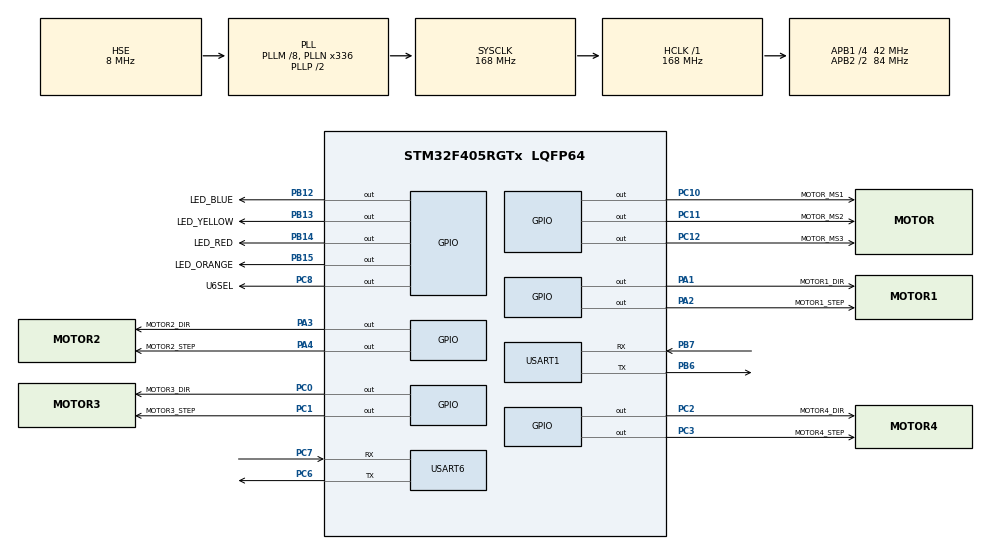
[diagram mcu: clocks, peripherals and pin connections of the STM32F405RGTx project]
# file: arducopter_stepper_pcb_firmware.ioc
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FREERTOS.Tasks01=defaultTask,0,128,StartDefaultTask,Default,NULL
FREERTOS.configTOTAL_HEAP_SIZE=40906
Mcu.Family=STM32F4
Mcu.Name=STM32F405RGTx
Mcu.Package=LQFP64
NVIC.PriorityGroup=NVIC_PRIORITYGROUP_4
NVIC.TIM1_BRK_TIM9_IRQn=true\:0\:0\:false\:false\:true\:false\:false
NVIC.TIM8_CC_IRQn=true\:5\:0\:false\:false\:true\:true\:true
NVIC.TimeBase=TIM1_BRK_TIM9_IRQn
NVIC.TimeBaseIP=TIM9
NVIC.USART1_IRQn=true\:5\:0\:false\:false\:true\:true\:true
PA1.GPIO_Label=MOTOR1_DIR
PA1.GPIO_Speed=GPIO_SPEED_FREQ_VERY_HIGH
PA1.Signal=GPIO_Output
PA13.Mode=Trace_Asynchronous_SW
PA13.Signal=SYS_JTMS-SWDIO
PA14.Mode=Trace_Asynchronous_SW
PA14.Signal=SYS_JTCK-SWCLK
PA2.GPIO_Label=MOTOR1_STEP
PA2.GPIO_Speed=GPIO_SPEED_FREQ_VERY_HIGH
PA2.Signal=GPIO_Output
PA3.GPIO_Label=MOTOR2_DIR
PA3.GPIO_Speed=GPIO_SPEED_FREQ_VERY_HIGH
PA3.Signal=GPIO_Output
PA4.GPIO_Label=MOTOR2_STEP
PA4.GPIO_Speed=GPIO_SPEED_FREQ_VERY_HIGH
PA4.Signal=GPIO_Output
PB12.GPIO_Label=LED_BLUE
PB12.GPIO_Speed=GPIO_SPEED_FREQ_HIGH
PB12.Signal=GPIO_Output
PB13.GPIO_Label=LED_YELLOW
PB13.GPIO_Speed=GPIO_SPEED_FREQ_HIGH
PB13.Signal=GPIO_Output
PB14.GPIO_Label=LED_RED
PB14.GPIO_Speed=GPIO_SPEED_FREQ_HIGH
PB14.Signal=GPIO_Output
PB15.GPIO_Label=LED_ORANGE
PB15.GPIO_Speed=GPIO_SPEED_FREQ_HIGH
PB15.Signal=GPIO_Output
PB3.Mode=Trace_Asynchronous_SW
PB3.Signal=SYS_JTDO-SWO
PB6.Mode=Asynchronous
PB6.Signal=USART1_TX
PB7.Mode=Asynchronous
PB7.Signal=USART1_RX
PC0.GPIO_Label=MOTOR3_DIR
PC0.GPIO_Speed=GPIO_SPEED_FREQ_VERY_HIGH
PC0.Signal=GPIO_Output
PC1.GPIO_Label=MOTOR3_STEP
PC1.GPIO_Speed=GPIO_SPEED_FREQ_VERY_HIGH
PC1.Signal=GPIO_Output
PC10.GPIO_Label=MOTOR_MS1
PC10.GPIO_Speed=GPIO_SPEED_FREQ_HIGH
PC10.PinState=GPIO_PIN_SET
PC10.Signal=GPIO_Output
PC11.GPIO_Label=MOTOR_MS2
PC11.GPIO_Speed=GPIO_SPEED_FREQ_HIGH
PC11.Signal=GPIO_Output
PC12.GPIO_Label=MOTOR_MS3
PC12.GPIO_Speed=GPIO_SPEED_FREQ_HIGH
PC12.Signal=GPIO_Output
PC2.GPIO_Label=MOTOR4_DIR
PC2.GPIO_Speed=GPIO_SPEED_FREQ_VERY_HIGH
PC2.Signal=GPIO_Output
PC3.GPIO_Label=MOTOR4_STEP
PC3.GPIO_Speed=GPIO_SPEED_FREQ_VERY_HIGH
PC3.Signal=GPIO_Output
PC6.Mode=Asynchronous
PC6.Signal=USART6_TX
PC7.Mode=Asynchronous
PC7.Signal=USART6_RX
PC8.GPIO_Label=U6SEL
PC8.Signal=GPIO_Output
PH0-OSC_IN.Mode=HSE-External-Oscillator
PH0-OSC_IN.Signal=RCC_OSC_IN
PH1-OSC_OUT.Mode=HSE-External-Oscillator
PH1-OSC_OUT.Signal=RCC_OSC_OUT
ProjectManager.HeapSize=0x2000
ProjectManager.StackSize=0x4000
ProjectManager.TargetToolchain=MDK-ARM V5
RCC.48MHZClocksFreq_Value=84000000
RCC.AHBFreq_Value=168000000
RCC.APB1CLKDivider=RCC_HCLK_DIV4
RCC.APB1Freq_Value=42000000
RCC.APB1TimFreq_Value=84000000
RCC.APB2CLKDivider=RCC_HCLK_DIV2
RCC.APB2Freq_Value=84000000
RCC.APB2TimFreq_Value=168000000
RCC.CortexFreq_Value=168000000
RCC.HCLKFreq_Value=168000000
RCC.HSE_VALUE=8000000
RCC.HSI_VALUE=16000000
RCC.LSE_VALUE=32768
RCC.PLLM=8
RCC.PLLN=336
RCC.PLLSourceVirtual=RCC_PLLSOURCE_HSE
RCC.SYSCLKFreq_VALUE=168000000
RCC.SYSCLKSource=RCC_SYSCLKSOURCE_PLLCLK
RCC.VCOOutputFreq_Value=336000000
TIM8.Channel-Output\ Compare1\ No\ Output=TIM_CHANNEL_1
TIM8.Channel-Output\ Compare2\ No\ Output=TIM_CHANNEL_2
TIM8.Channel-Output\ Compare3\ No\ Output=TIM_CHANNEL_3
TIM8.Channel-Output\ Compare4\ No\ Output=TIM_CHANNEL_4
TIM8.OCMode_1=TIM_OCMODE_ACTIVE
TIM8.OCMode_2=TIM_OCMODE_ACTIVE
TIM8.OCMode_3=TIM_OCMODE_ACTIVE
TIM8.OCMode_4=TIM_OCMODE_ACTIVE
USART1.VirtualMode=VM_ASYNC
USART6.VirtualMode=VM_ASYNC
VP_FREERTOS_VS_ENABLE.Mode=Enabled
VP_SYS_VS_tim9.Mode=TIM9
VP_TIM8_VS_ClockSourceINT.Mode=Internal
VP_TIM8_VS_no_output1.Mode=Output Compare1 No Output
VP_TIM8_VS_no_output2.Mode=Output Compare2 No Output
VP_TIM8_VS_no_output3.Mode=Output Compare3 No Output
VP_TIM8_VS_no_output4.Mode=Output Compare4 No Output
board=arducopter_stepper_pcb_firmware

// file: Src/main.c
/**
  ******************************************************************************
  * File Name          : main.c
  * Description        : Main program body
  ******************************************************************************
  * This notice applies to any and all portions of this file
  * that are not between comment pairs USER CODE BEGIN and
  * USER CODE END. Other portions of this file, whether
  * inserted by the user or by software development tools
  * are owned by their respective copyright owners.
  *
  * Copyright (c) 2018 STMicroelectronics International N.V.
  * All rights reserved.
  *
  * Redistribution and use in source and binary forms, with or without
  * modification, are permitted, provided that the following conditions are met:
  *
  * 1. Redistribution of source code must retain the above copyright notice,
  *    this list of conditions and the following disclaimer.
  * 2. Redistributions in binary form must reproduce the above copyright notice,
  *    this list of conditions and the following disclaimer in the documentation
  *    and/or other materials provided with the distribution.
  * 3. Neither the name of STMicroelectronics nor the names of other
  *    contributors to this software may be used to endorse or promote products
  *    derived from this software without specific written permission.
  * 4. This software, including modifications and/or derivative works of this
  *    software, must execute solely and exclusively on microcontroller or
  *    microprocessor devices manufactured by or for STMicroelectronics.
  * 5. Redistribution and use of this software other than as permitted under
  *    this license is void and will automatically terminate your rights under
  *    this license.
  *
  * THIS SOFTWARE IS PROVIDED BY STMICROELECTRONICS AND CONTRIBUTORS "AS IS"
  * AND ANY EXPRESS, IMPLIED OR STATUTORY WARRANTIES, INCLUDING, BUT NOT
  * LIMITED TO, THE IMPLIED WARRANTIES OF MERCHANTABILITY, FITNESS FOR A
  * PARTICULAR PURPOSE AND NON-INFRINGEMENT OF THIRD PARTY INTELLECTUAL PROPERTY
  * RIGHTS ARE DISCLAIMED TO THE FULLEST EXTENT PERMITTED BY LAW. IN NO EVENT
  * SHALL STMICROELECTRONICS OR CONTRIBUTORS BE LIABLE FOR ANY DIRECT, INDIRECT,
  * INCIDENTAL, SPECIAL, EXEMPLARY, OR CONSEQUENTIAL DAMAGES (INCLUDING, BUT NOT
  * LIMITED TO, PROCUREMENT OF SUBSTITUTE GOODS OR SERVICES; LOSS OF USE, DATA,
  * OR PROFITS; OR BUSINESS INTERRUPTION) HOWEVER CAUSED AND ON ANY THEORY OF
  * LIABILITY, WHETHER IN CONTRACT, STRICT LIABILITY, OR TORT (INCLUDING
  * NEGLIGENCE OR OTHERWISE) ARISING IN ANY WAY OUT OF THE USE OF THIS SOFTWARE,
  * EVEN IF ADVISED OF THE POSSIBILITY OF SUCH DAMAGE.
  *
  ******************************************************************************
  */

#include "main.h"
#include "stm32f4xx_hal.h"
#include "cmsis_os.h"
#include "tim.h"
#include "usart.h"
#include "gpio.h"

/* USER CODE BEGIN Includes */
#include <mm_control.h>
/* USER CODE END Includes */

/* USER CODE BEGIN PV */
/* Private variables ---------------------------------------------------------*/

/* USER CODE END PV */

void SystemClock_Config(void);
void MX_FREERTOS_Init(void);

/* USER CODE BEGIN PFP */
/* Private function prototypes -----------------------------------------------*/

/* USER CODE END PFP */

int main(void)
{

  /* MCU Configuration----------------------------------------------------------*/

  /* Reset of all peripherals, Initializes the Flash interface and the Systick. */
  HAL_Init();

  /* Configure the system clock */
  SystemClock_Config();

  /* Initialize all configured peripherals */
  MX_GPIO_Init();
  MX_USART1_UART_Init();
  MX_USART6_UART_Init();
  MX_TIM8_Init();

  /* USER CODE BEGIN 2 */
	mm_control_init();
  /* USER CODE END 2 */

  /* Call init function for freertos objects (in freertos.c) */
  MX_FREERTOS_Init();

  /* Start scheduler */
  osKernelStart();

  /* We should never get here as control is now taken by the scheduler */

  /* Infinite loop */
  while (1)
  {

  }

}

/** System Clock Configuration
*/
void SystemClock_Config(void)
{

  RCC_OscInitTypeDef RCC_OscInitStruct;
  RCC_ClkInitTypeDef RCC_ClkInitStruct;

    /**Configure the main internal regulator output voltage
    */
  __HAL_RCC_PWR_CLK_ENABLE();

  __HAL_PWR_VOLTAGESCALING_CONFIG(PWR_REGULATOR_VOLTAGE_SCALE1);

    /**Initializes the CPU, AHB and APB busses clocks
    */
  RCC_OscInitStruct.OscillatorType = RCC_OSCILLATORTYPE_HSE;
  RCC_OscInitStruct.HSEState = RCC_HSE_ON;
  RCC_OscInitStruct.PLL.PLLState = RCC_PLL_ON;
  RCC_OscInitStruct.PLL.PLLSource = RCC_PLLSOURCE_HSE;
  RCC_OscInitStruct.PLL.PLLM = 8;
  RCC_OscInitStruct.PLL.PLLN = 336;
  RCC_OscInitStruct.PLL.PLLP = RCC_PLLP_DIV2;
  RCC_OscInitStruct.PLL.PLLQ = 4;
  if (HAL_RCC_OscConfig(&RCC_OscInitStruct) != HAL_OK)
  {
    _Error_Handler(__FILE__, __LINE__);
  }

    /**Initializes the CPU, AHB and APB busses clocks
    */
  RCC_ClkInitStruct.ClockType = RCC_CLOCKTYPE_HCLK|RCC_CLOCKTYPE_SYSCLK
                              |RCC_CLOCKTYPE_PCLK1|RCC_CLOCKTYPE_PCLK2;
  RCC_ClkInitStruct.SYSCLKSource = RCC_SYSCLKSOURCE_PLLCLK;
  RCC_ClkInitStruct.AHBCLKDivider = RCC_SYSCLK_DIV1;
  RCC_ClkInitStruct.APB1CLKDivider = RCC_HCLK_DIV4;
  RCC_ClkInitStruct.APB2CLKDivider = RCC_HCLK_DIV2;

  if (HAL_RCC_ClockConfig(&RCC_ClkInitStruct, FLASH_LATENCY_5) != HAL_OK)
  {
    _Error_Handler(__FILE__, __LINE__);
  }

    /**Configure the Systick interrupt time
    */
  HAL_SYSTICK_Config(HAL_RCC_GetHCLKFreq()/1000);

    /**Configure the Systick
    */
  HAL_SYSTICK_CLKSourceConfig(SYSTICK_CLKSOURCE_HCLK);

  /* SysTick_IRQn interrupt configuration */
  HAL_NVIC_SetPriority(SysTick_IRQn, 15, 0);
}

void HAL_TIM_PeriodElapsedCallback(TIM_HandleTypeDef *htim)
{
  if (htim->Instance == TIM9) {
    HAL_IncTick();
  }
}

void _Error_Handler(char * file, int line)
{
  while(1)
  {
  }
}

/************************ (C) COPYRIGHT STMicroelectronics *****END OF FILE****/

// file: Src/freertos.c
/**
  ******************************************************************************
  * File Name          : freertos.c
  * Description        : Code for freertos applications
  ******************************************************************************
  * This notice applies to any and all portions of this file
  * that are not between comment pairs USER CODE BEGIN and
  * USER CODE END. Other portions of this file, whether
  * inserted by the user or by software development tools
  * are owned by their respective copyright owners.
  *
  * Copyright (c) 2018 STMicroelectronics International N.V.
  * All rights reserved.
  *
  * Redistribution and use in source and binary forms, with or without
  * modification, are permitted, provided that the following conditions are met:
  *
  * 1. Redistribution of source code must retain the above copyright notice,
  *    this list of conditions and the following disclaimer.
  * 2. Redistributions in binary form must reproduce the above copyright notice,
  *    this list of conditions and the following disclaimer in the documentation
  *    and/or other materials provided with the distribution.
  * 3. Neither the name of STMicroelectronics nor the names of other
  *    contributors to this software may be used to endorse or promote products
  *    derived from this software without specific written permission.
  * 4. This software, including modifications and/or derivative works of this
  *    software, must execute solely and exclusively on microcontroller or
  *    microprocessor devices manufactured by or for STMicroelectronics.
  * 5. Redistribution and use of this software other than as permitted under
  *    this license is void and will automatically terminate your rights under
  *    this license.
  *
  * THIS SOFTWARE IS PROVIDED BY STMICROELECTRONICS AND CONTRIBUTORS "AS IS"
  * AND ANY EXPRESS, IMPLIED OR STATUTORY WARRANTIES, INCLUDING, BUT NOT
  * LIMITED TO, THE IMPLIED WARRANTIES OF MERCHANTABILITY, FITNESS FOR A
  * PARTICULAR PURPOSE AND NON-INFRINGEMENT OF THIRD PARTY INTELLECTUAL PROPERTY
  * RIGHTS ARE DISCLAIMED TO THE FULLEST EXTENT PERMITTED BY LAW. IN NO EVENT
  * SHALL STMICROELECTRONICS OR CONTRIBUTORS BE LIABLE FOR ANY DIRECT, INDIRECT,
  * INCIDENTAL, SPECIAL, EXEMPLARY, OR CONSEQUENTIAL DAMAGES (INCLUDING, BUT NOT
  * LIMITED TO, PROCUREMENT OF SUBSTITUTE GOODS OR SERVICES; LOSS OF USE, DATA,
  * OR PROFITS; OR BUSINESS INTERRUPTION) HOWEVER CAUSED AND ON ANY THEORY OF
  * LIABILITY, WHETHER IN CONTRACT, STRICT LIABILITY, OR TORT (INCLUDING
  * NEGLIGENCE OR OTHERWISE) ARISING IN ANY WAY OUT OF THE USE OF THIS SOFTWARE,
  * EVEN IF ADVISED OF THE POSSIBILITY OF SUCH DAMAGE.
  *
  ******************************************************************************
  */

#include "FreeRTOS.h"
#include "task.h"
#include "cmsis_os.h"

/* USER CODE BEGIN Includes */
#include <mm_control.h>
#include <usart.h>
/* USER CODE END Includes */

osThreadId defaultTaskHandle;
osThreadId mm1ControlHandle;
osThreadId mm2ControlHandle;
osThreadId mm3ControlHandle;
osThreadId mm4ControlHandle;

xQueueHandle mm_motorISRqueue[4];
xQueueHandle xQueueMotorSetpoint[4];
xQueueHandle xQueueMotorSetup[4];

void StartDefaultTask(void const * argument);

void MX_FREERTOS_Init(void); /* (MISRA C 2004 rule 8.1) */

/* USER CODE BEGIN FunctionPrototypes */
void mmControlTask(void const * argument);
void vDecodeMsgTask(void *argument);
xTaskHandle xDecodeMsgTaskHandle;
/* USER CODE END FunctionPrototypes */

/* Hook prototypes */

/* Init FreeRTOS */

void MX_FREERTOS_Init(void) {

  /* Create the thread(s) */
  /* definition and creation of defaultTask */
  osThreadDef(defaultTask, StartDefaultTask, osPriorityNormal, 0, 128);
  defaultTaskHandle = osThreadCreate(osThread(defaultTask), NULL);

  /* USER CODE BEGIN RTOS_THREADS */

  /* definition and creation of mmControl */
  osThreadDef(MOTOR1_TASK, mmControlTask, osPriorityRealtime, 0, 512);
  mm1ControlHandle = osThreadCreate(osThread(MOTOR1_TASK), (void *)1);

  /* definition and creation of mmControl */
  osThreadDef(MOTOR2_TASK, mmControlTask, osPriorityRealtime, 0, 512);
  mm2ControlHandle = osThreadCreate(osThread(MOTOR2_TASK), (void *)2);

  /* definition and creation of mmControl */
  osThreadDef(MOTOR3_TASK, mmControlTask, osPriorityRealtime, 0, 512);
  mm3ControlHandle = osThreadCreate(osThread(MOTOR3_TASK), (void *)3);

  /* definition and creation of mmControl */
  osThreadDef(MOTOR4_TASK, mmControlTask, osPriorityRealtime, 0, 512);
  mm4ControlHandle = osThreadCreate(osThread(MOTOR4_TASK), (void *)4);

	/* definition and creation of mmControl */
	xTaskCreate(
		vDecodeMsgTask,
		(const char*)"MSG_DECODE_TASK",
		configMINIMAL_STACK_SIZE,
		NULL,
		2,
		&xDecodeMsgTaskHandle);
  /* USER CODE END RTOS_THREADS */

  /* USER CODE BEGIN RTOS_QUEUES */
  /* add queues, ... */
	mm_motorISRqueue[0] = xQueueCreate(1, sizeof(MM_ISR_message_TypeDef));
	mm_motorISRqueue[1] = xQueueCreate(1, sizeof(MM_ISR_message_TypeDef));
	mm_motorISRqueue[2] = xQueueCreate(1, sizeof(MM_ISR_message_TypeDef));
	mm_motorISRqueue[3] = xQueueCreate(1, sizeof(MM_ISR_message_TypeDef));

	xQueueMotorSetpoint[0] = xQueueCreate(1, sizeof(int32_t));
	xQueueMotorSetpoint[1] = xQueueCreate(1, sizeof(int32_t));
	xQueueMotorSetpoint[2] = xQueueCreate(1, sizeof(int32_t));
	xQueueMotorSetpoint[3] = xQueueCreate(1, sizeof(int32_t));

	xQueueMotorSetup[0] = xQueueCreate(1, sizeof(motor_setup_t));
	xQueueMotorSetup[1] = xQueueCreate(1, sizeof(motor_setup_t));
	xQueueMotorSetup[2] = xQueueCreate(1, sizeof(motor_setup_t));
	xQueueMotorSetup[3] = xQueueCreate(1, sizeof(motor_setup_t));
	/* USER CODE END RTOS_QUEUES */
}

/* StartDefaultTask function */
void StartDefaultTask(void const * argument)
{

  for(;;)
  {
    osDelay(1);
  }
}

/* USER CODE BEGIN Application */

/* mmControlTask function */
void mmControlTask(void const * argument)
{
  /* USER CODE BEGIN mmControlTask */
  mmControl_TypeDef mm_motor_parameters;
	uint32_t motorNumber = (uint32_t)argument;
	motor_setup_t setupMsg;

	mm_motor_parameters.P = 2;
	mm_motor_parameters.acc_max = 1000000;
	mm_motor_parameters.dead_zone = 0;
	mm_motor_parameters.omega_max = 1200000;
	mm_motor_parameters.SamplingFrequency = MM_CONTROL_SAMPLING_FREQUENCY;

  /* Infinite loop */
  for(;;)
  {
		if(xQueueReceive(xQueueMotorSetup[motorNumber-1],(void *)&setupMsg,(TickType_t) 0) == pdTRUE)
		{
			//Refresh controler parameters
			mm_motor_parameters.P = setupMsg.P;
			mm_motor_parameters.omega_max = setupMsg.wMax;
			mm_motor_parameters.acc_max = setupMsg.rLim;
			mm_motor_parameters.dead_zone = setupMsg.dLim;;
		}
		mm_control_algorithm(&mm_motor_parameters, motorNumber);
		osDelay(1000.0/MM_CONTROL_SAMPLING_FREQUENCY);
  }
}

void vDecodeMsgTask(void *argument)
{
	union Data
		{
			motor_control_t broj;
			char str[20];
		} data;

	uint16_t i;

	while(1)
	{
		//If there is notification do some work
		ulTaskNotifyTake( pdTRUE, portMAX_DELAY  );

		//Fill up data structure
		for(i=0; i<20; i++)
		{
			USART1_Dequeue(&data.str[i]);
		}
		//Padding bytes set to zero
		data.str[19] = 0;
		data.str[18] = 0;
		data.str[17] = 0;

		//From cmd data field decide where to send the data

		switch((char)data.broj.cmd)
		{
			case('C'):
			{
				//Send to motor setpoint queues
				int32_t ref = data.broj.moto1;
				//Send to appropriate setpoint queues. Queues hold only 1 element,
				// and xQueueOverwrite allways inserts the last received value to
				// queue even if it's full (overwrite)
				xQueueOverwrite(xQueueMotorSetpoint[0],
												(void *)&ref);

				ref = data.broj.moto2;
				xQueueOverwrite(xQueueMotorSetpoint[1],
												(void *)&ref);

				ref = data.broj.moto3;
				xQueueOverwrite(xQueueMotorSetpoint[2],
												(void *)&ref);

				ref = data.broj.moto4;
				xQueueOverwrite(xQueueMotorSetpoint[3],
												(void *)&ref);

				//In final version send to all setpoint queues
				break;

			}
			case('S'):
			{
				// Setup msg for all motor controllers

					//Form a message
					motor_setup_t setupCmd;
						setupCmd.P 		= data.broj.moto1;
						setupCmd.wMax = data.broj.moto2;
						setupCmd.rLim = data.broj.moto3;
						setupCmd.dLim = data.broj.moto4;
					//Add to queue without blocking
					xQueueOverwrite( xQueueMotorSetup[0],
														(void *)&setupCmd);
					xQueueOverwrite( xQueueMotorSetup[1],
														(void *)&setupCmd);
					xQueueOverwrite( xQueueMotorSetup[2],
														(void *)&setupCmd);
					xQueueOverwrite( xQueueMotorSetup[3],
														(void *)&setupCmd);
				break;
			}
			/*case('M'):
			{
				//Set global shared pule counter variables in critical section
				NVIC_DisableIRQ(TIM4_IRQn);
					pulsCnt1 = data.broj.moto1;
					pulsCnt2 = data.broj.moto2;
					pulsCnt3 = data.broj.moto3;
					pulsCnt4 = data.broj.moto4;
				NVIC_EnableIRQ(TIM4_IRQn);
			}*/
			default:
				break;
		}

	}
}
  /* USER CODE END mmControlTask */
/* USER CODE END Application */

/************************ (C) COPYRIGHT STMicroelectronics *****END OF FILE****/
